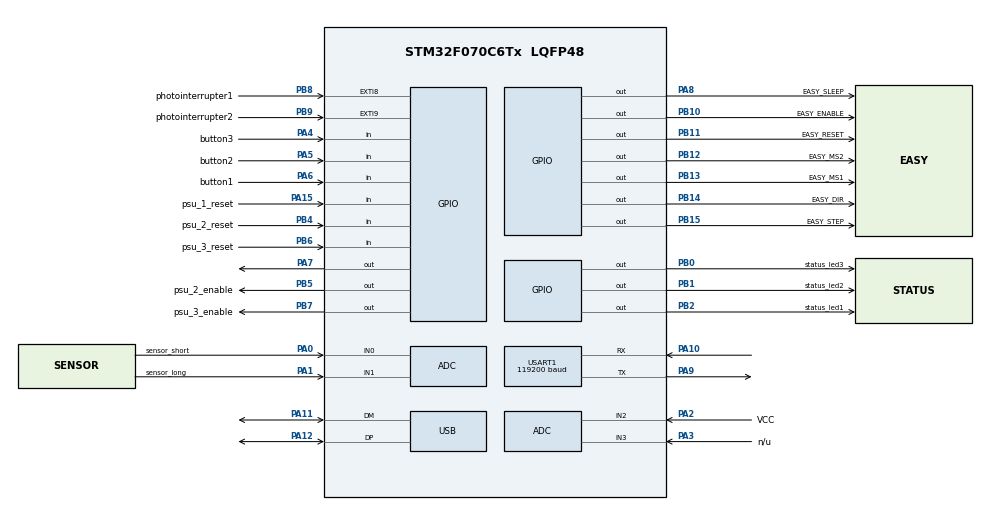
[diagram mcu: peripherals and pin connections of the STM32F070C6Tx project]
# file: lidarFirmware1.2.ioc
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Mcu.Family=STM32F0
Mcu.Name=STM32F070C6Tx
Mcu.Package=LQFP48
NVIC.TIM3_IRQn=true\:0\:0\:false\:false\:true
NVIC.TimeBase=TIM3_IRQn
NVIC.TimeBaseIP=TIM3
NVIC.USB_IRQn=true\:0\:0\:false\:false\:true
PA0.GPIO_Label=sensor_short
PA0.Mode=IN0
PA0.Signal=ADC_IN0
PA1.GPIO_Label=sensor_long
PA1.Mode=IN1
PA1.Signal=ADC_IN1
PA10.Mode=Asynchronous
PA10.Signal=USART1_RX
PA11.Mode=Device
PA11.Signal=USB_DM
PA12.Mode=Device
PA12.Signal=USB_DP
PA13.Mode=Serial_Wire
PA13.Signal=SYS_SWDIO
PA14.Mode=Serial_Wire
PA14.Signal=SYS_SWCLK
PA15.GPIO_Label=psu_1_reset
PA15.Signal=GPIO_Input
PA2.GPIO_Label=VCC
PA2.Mode=IN2
PA2.Signal=ADC_IN2
PA3.GPIO_Label=n/u
PA3.Mode=IN3
PA3.Signal=ADC_IN3
PA4.GPIO_Label=button3
PA4.Signal=GPIO_Input
PA5.GPIO_Label=button2
PA5.Signal=GPIO_Input
PA6.GPIO_Label=button1
PA6.Signal=GPIO_Input
PA7.Signal=GPIO_Output
PA8.GPIO_Label=EASY_SLEEP
PA8.Signal=GPIO_Output
PA9.Mode=Asynchronous
PA9.Signal=USART1_TX
PB0.GPIO_Label=status_led3
PB0.Signal=GPIO_Output
PB1.GPIO_Label=status_led2
PB1.Signal=GPIO_Output
PB10.GPIO_Label=EASY_ENABLE
PB10.Signal=GPIO_Output
PB11.GPIO_Label=EASY_RESET
PB11.Signal=GPIO_Output
PB12.GPIO_Label=EASY_MS2
PB12.Signal=GPIO_Output
PB13.GPIO_Label=EASY_MS1
PB13.Signal=GPIO_Output
PB14.GPIO_Label=EASY_DIR
PB14.Signal=GPIO_Output
PB15.GPIO_Label=EASY_STEP
PB15.Signal=GPIO_Output
PB2.GPIO_Label=status_led1
PB2.Signal=GPIO_Output
PB4.GPIO_Label=psu_2_reset
PB4.Signal=GPIO_Input
PB5.GPIO_Label=psu_2_enable
PB5.Signal=GPIO_Output
PB6.GPIO_Label=psu_3_reset
PB6.Signal=GPIO_Input
PB7.GPIO_Label=psu_3_enable
PB7.Signal=GPIO_Output
PB8.GPIO_Label=photointerrupter1
PB8.Signal=GPXTI8
PB9.GPIO_Label=photointerrupter2
PB9.Signal=GPXTI9
ProjectManager.HeapSize=0x200
ProjectManager.StackSize=0x400
ProjectManager.TargetToolchain=EWARM
RCC.AHBFreq_Value=48000000
RCC.APB1Freq_Value=48000000
RCC.APB1TimFreq_Value=48000000
RCC.HCLKFreq_Value=48000000
RCC.PLLMUL=RCC_PLL_MUL6
RCC.SYSCLKFreq_VALUE=48000000
RCC.SYSCLKSource=RCC_SYSCLKSOURCE_PLLCLK
USART1.BaudRate=119200
USART1.Parity=PARITY_ODD
USART1.WordLength=UART_WORDLENGTH_9B
USB_DEVICE.CLASS_NAME_FS=CDC
USB_DEVICE.USBD_HandleTypeDef=hUsbDeviceFS
USB_DEVICE.VirtualMode=Cdc
USB_DEVICE.VirtualModeFS=Cdc_FS
VP_ADC_TempSens_Input.Mode=IN-TempSens
VP_ADC_Vref_Input.Mode=IN-Vrefint
VP_SYS_VS_tim3.Mode=TIM3
VP_USB_DEVICE_VS_USB_DEVICE_CDC_FS.Mode=CDC_FS
board=lidarFirmware1.2

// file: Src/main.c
/**
******************************************************************************
* File Name          : main.c
* Description        : Main program body
******************************************************************************
*
* Copyright (c) 2016 STMicroelectronics International N.V.
* All rights reserved.
*
* Redistribution and use in source and binary forms, with or without
* modification, are permitted, provided that the following conditions are met:
*
* 1. Redistribution of source code must retain the above copyright notice,
*    this list of conditions and the following disclaimer.
* 2. Redistributions in binary form must reproduce the above copyright notice,
*    this list of conditions and the following disclaimer in the documentation
*    and/or other materials provided with the distribution.
* 3. Neither the name of STMicroelectronics nor the names of other
*    contributors to this software may be used to endorse or promote products
*    derived from this software without specific written permission.
* 4. This software, including modifications and/or derivative works of this
*    software, must execute solely and exclusively on microcontroller or
*    microprocessor devices manufactured by or for STMicroelectronics.
* 5. Redistribution and use of this software other than as permitted under
*    this license is void and will automatically terminate your rights under
*    this license.
*
* THIS SOFTWARE IS PROVIDED BY STMICROELECTRONICS AND CONTRIBUTORS "AS IS"
* AND ANY EXPRESS, IMPLIED OR STATUTORY WARRANTIES, INCLUDING, BUT NOT
* LIMITED TO, THE IMPLIED WARRANTIES OF MERCHANTABILITY, FITNESS FOR A
* PARTICULAR PURPOSE AND NON-INFRINGEMENT OF THIRD PARTY INTELLECTUAL PROPERTY
* RIGHTS ARE DISCLAIMED TO THE FULLEST EXTENT PERMITTED BY LAW. IN NO EVENT
* SHALL STMICROELECTRONICS OR CONTRIBUTORS BE LIABLE FOR ANY DIRECT, INDIRECT,
* INCIDENTAL, SPECIAL, EXEMPLARY, OR CONSEQUENTIAL DAMAGES (INCLUDING, BUT NOT
* LIMITED TO, PROCUREMENT OF SUBSTITUTE GOODS OR SERVICES; LOSS OF USE, DATA,
* OR PROFITS; OR BUSINESS INTERRUPTION) HOWEVER CAUSED AND ON ANY THEORY OF
* LIABILITY, WHETHER IN CONTRACT, STRICT LIABILITY, OR TORT (INCLUDING
* NEGLIGENCE OR OTHERWISE) ARISING IN ANY WAY OUT OF THE USE OF THIS SOFTWARE,
* EVEN IF ADVISED OF THE POSSIBILITY OF SUCH DAMAGE.
*
******************************************************************************
*/
/*#include "main.h"
#include "stm32f0xx_hal.h"
#include "adc.h"
#include "usart.h"
#include "usb_device.h"
#include "gpio.h"*/

/* USER CODE BEGIN Includes */
#include "lidarDefaultHeader.h"
#include "FreeRTOS.h"
#include "task.h"
#include "semphr.h"
#include "queue.h"
/* USER CODE END Includes */

/* USER CODE BEGIN PV */
/* Private variables ---------------------------------------------------------*/

/* USER CODE END PV */

void SystemClock_Config(void);
void Error_Handler(void);

/* USER CODE BEGIN PFP */
/* Private function prototypes -----------------------------------------------*/
extern void example(void* pvParameters);
extern void water(void* pvParameters);
extern void LED_Control(void* argument);
extern void Button_Control(void* argument);
extern void usbDr(void* pvParameters);
extern void serialDr(void* pvParameters);
extern void comInter(void* pvParameters);
extern void sensDriv(void* pvParameters);
extern void photoInt(void* pvParameters);
extern void hBridge(void* pvParameters);
//extern void easyStep(void* pvParameters);
extern void posCtrl(void* pvParameters);

static TaskHandle_t xUsbDrHandle = NULL;
static TaskHandle_t xSerialDrHandle = NULL;
static TaskHandle_t xComInterHandle = NULL;
static TaskHandle_t xSensDrivHandle = NULL;
static TaskHandle_t xPhotoIntHandle = NULL;
static TaskHandle_t xHBridgeHandle = NULL;
static TaskHandle_t xEasyStepHandle = NULL;
static TaskHandle_t xSysCtrlHandle = NULL;
static TaskHandle_t xPosCtrlHandle = NULL;

// Semaphore Declarations:
volatile char posCtrl_initFlag = 0; 	// Semaphore alternative for poscontroller
volatile char posCtrl_startFlag = 0;	// Semaphore alternative for poscontroller
// SemaphoreHandle_t initPosCTRL; // init postion controller
// SemaphoreHandle_t startPosCTRL; // start scanning, (postion controller)

/* USER CODE END PFP */

/* USER CODE BEGIN 0 */

uint8_t LED_Register_Bits = 00001010; // fout pik
uint8_t Button_Status = 00000000;
QueueHandle_t serialInQueue, serialOutQueue;
/* USER CODE END 0 */

int main(void)
{

	/* MCU Configuration----------------------------------------------------------*/

	/* Reset of all peripherals, Initializes the Flash interface and the Systick. */
	HAL_Init();

	/* Configure the system clock */
	SystemClock_Config();

	/* Initialize all configured peripherals */
	MX_GPIO_Init();

	MX_ADC_Init();
	MX_USART1_UART_Init();
	MX_USB_DEVICE_Init();

	EXTI->RTSR = EXTI_RTSR_TR6;

    NVIC_SetPriority(EXTI4_15_IRQn, 0);
  	NVIC_EnableIRQ(EXTI4_15_IRQn);
	/* USER CODE BEGIN 2 */

	// this queue should be filled in a interrupt using xQueueSendToBackFromISR() function
	/* Create a queue capable of containing 100 char values. */
	serialInQueue = xQueueCreate( 100, sizeof( char ) );
	if (serialInQueue == 0){
        // error
    }

	// this queue should be read in a interrupt using xQueueReceiveFromISR() function
	/* Create a queue capable of containing 100 char values. */
	serialOutQueue = xQueueCreate( 100, sizeof( char ) );
	if (serialOutQueue == 0){
        // error
    }

	/* USER CODE END 2 */

	/* Infinite loop */
	/* USER CODE BEGIN WHILE */

	while (1)
	{
		// initPosCTRL = xSemaphoreCreateBinary();
		// if(initPosCTRL == NULL){
		// 	// error handler
		// }
		// startPosCTRL = xSemaphoreCreateBinary();
		// if(startPosCTRL == NULL){
		// 	// error handler
		// }

		// traceanaylzer

		#if SYSCTRL == 1
		if (xTaskCreate(
						LED_Control,
						"LED_CONT",
						configMINIMAL_STACK_SIZE + 100,
						(void*) NULL,
						taskIDLE_PRIORITY + 1,
						(xTaskHandle*) NULL)
			!= pdPASS ){
				// error handler
			}

		if (xTaskCreate(
						Button_Control,
						"BUT_CONT",
						configMINIMAL_STACK_SIZE + 100,
						(void*) NULL,
						taskIDLE_PRIORITY + 1,
						(xTaskHandle*) NULL)
			!= pdPASS ){
				// error handler
			}
		#endif

		#if USBDR == 1
		xTaskCreate(
		usbDr,
		"usbDr",
		configMINIMAL_STACK_SIZE + 0,
		(void*) NULL,
		taskIDLE_PRIORITY + 1,
		(xTaskHandle*) NULL);
		#endif

		#if SERIALDR == 1
		xTaskCreate(
		serialDr,
		"serialDr",
		configMINIMAL_STACK_SIZE + 0,
		(void*) NULL,
		taskIDLE_PRIORITY + 1,
		(xTaskHandle*) NULL);
		#endif

		#if COMINTER == 1
		xTaskCreate(
		comInter,
		"comInter",
		configMINIMAL_STACK_SIZE + 0,
		(void*) NULL,
		taskIDLE_PRIORITY + 1,
		(xTaskHandle*) NULL);
		#endif

		#if SENSDRIV == 1
		xTaskCreate(
		sensDriv,
		"sensDriv",
		configMINIMAL_STACK_SIZE + 0,
		(void*) NULL,
		taskIDLE_PRIORITY + 1,
		(xTaskHandle*) NULL);
		#endif

		#if PHOTOINT == 1
		xTaskCreate(
		photoInt,
		"photoInt",
		configMINIMAL_STACK_SIZE + 0,
		(void*) NULL,
		taskIDLE_PRIORITY + 1,
		(xTaskHandle*) NULL);
		#endif

		#if HBRIDGE == 1
		xTaskCreate(
		hBridge,
		"hBridge",
		configMINIMAL_STACK_SIZE + 0,
		(void*) NULL,
		taskIDLE_PRIORITY + 1,
		(xTaskHandle*) NULL);
		#endif

		#if EASYSTEP == 1
		/* we dont use a task anymore, we use 'normal' c functions */
		// xTaskCreate(
		// easyStep,
		// "easyStep",
		// configMINIMAL_STACK_SIZE + 0,
		// (void*) NULL,
		// taskIDLE_PRIORITY + 1,
		// (xTaskHandle*) NULL);
		#endif

		#if POSCTRL == 1
		if(xTaskCreate(
					   posCtrl,
					   "posCtrl",
					   configMINIMAL_STACK_SIZE + 0,
					   (void*) NULL,
					   taskIDLE_PRIORITY + 1,
					   &xPosCtrlHandle)
		   != pdPASS ){
			   // error handler
		   }
		#endif

		/* Start scheduler */
		HAL_GPIO_WritePin (GPIOB, status_led3_Pin|status_led2_Pin|status_led1_Pin, GPIO_PIN_SET);
		vTaskStartScheduler();	// should not get past this function
		for(;;);
		/* USER CODE END WHILE */

	}

}

		/** System Clock Configuration
		*/
		void SystemClock_Config(void)
		{

			RCC_OscInitTypeDef RCC_OscInitStruct;
			RCC_ClkInitTypeDef RCC_ClkInitStruct;
			RCC_PeriphCLKInitTypeDef PeriphClkInit;

			/**Initializes the CPU, AHB and APB busses clocks
			*/
			RCC_OscInitStruct.OscillatorType = RCC_OSCILLATORTYPE_HSI|RCC_OSCILLATORTYPE_HSI14;
			RCC_OscInitStruct.HSIState = RCC_HSI_ON;
			RCC_OscInitStruct.HSI14State = RCC_HSI14_ON;
			RCC_OscInitStruct.HSICalibrationValue = 16;
			RCC_OscInitStruct.HSI14CalibrationValue = 16;
			RCC_OscInitStruct.PLL.PLLState = RCC_PLL_ON;
			RCC_OscInitStruct.PLL.PLLSource = RCC_PLLSOURCE_HSI;
			RCC_OscInitStruct.PLL.PLLMUL = RCC_PLL_MUL6;
			RCC_OscInitStruct.PLL.PREDIV = RCC_PREDIV_DIV1;
			if (HAL_RCC_OscConfig(&RCC_OscInitStruct) != HAL_OK)
			{
				Error_Handler();
			}

			/**Initializes the CPU, AHB and APB busses clocks
			*/
			RCC_ClkInitStruct.ClockType = RCC_CLOCKTYPE_HCLK|RCC_CLOCKTYPE_SYSCLK
				|RCC_CLOCKTYPE_PCLK1;
			RCC_ClkInitStruct.SYSCLKSource = RCC_SYSCLKSOURCE_PLLCLK;
			RCC_ClkInitStruct.AHBCLKDivider = RCC_SYSCLK_DIV1;
			RCC_ClkInitStruct.APB1CLKDivider = RCC_HCLK_DIV1;

			if (HAL_RCC_ClockConfig(&RCC_ClkInitStruct, FLASH_LATENCY_1) != HAL_OK)
			{
				Error_Handler();
			}

			PeriphClkInit.PeriphClockSelection = RCC_PERIPHCLK_USB|RCC_PERIPHCLK_USART1;
			PeriphClkInit.Usart1ClockSelection = RCC_USART1CLKSOURCE_PCLK1;
			PeriphClkInit.UsbClockSelection = RCC_USBCLKSOURCE_PLL;

			if (HAL_RCCEx_PeriphCLKConfig(&PeriphClkInit) != HAL_OK)
			{
				Error_Handler();
			}

			/**Configure the Systick interrupt time
			*/
			HAL_SYSTICK_Config(HAL_RCC_GetHCLKFreq()/1000);

			/**Configure the Systick
			*/
			HAL_SYSTICK_CLKSourceConfig(SYSTICK_CLKSOURCE_HCLK);

			/* SysTick_IRQn interrupt configuration */
			HAL_NVIC_SetPriority(SysTick_IRQn, 0, 0);
		}

		/**
		* @brief  Period elapsed callback in non blocking mode
		* @note   This function is called  when TIM3 interrupt took place, inside
		* HAL_TIM_IRQHandler(). It makes a direct call to HAL_IncTick() to increment
		* a global variable "uwTick" used as application time base.
		* @param  htim : TIM handle
		* @retval None
		*/
		void HAL_TIM_PeriodElapsedCallback(TIM_HandleTypeDef *htim)
		{
			if (htim->Instance == TIM3) {
				HAL_IncTick();
			}
		}

		/**
		* @brief  This function is executed in case of error occurrence.
		* @param  None
		* @retval None
		*/
		void Error_Handler(void)
		{
			while(1)
			{
			}
		}

		/**
		* @}
		*/

		/**
		* @}
		*/

		/************************ (C) COPYRIGHT STMicroelectronics *****END OF FILE****/

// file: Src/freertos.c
/**
  ******************************************************************************
  * File Name          : freertos.c
  * Description        : Code for freertos applications
  ******************************************************************************
  *
  * Copyright (c) 2016 STMicroelectronics International N.V.
  * All rights reserved.
  *
  * Redistribution and use in source and binary forms, with or without
  * modification, are permitted, provided that the following conditions are met:
  *
  * 1. Redistribution of source code must retain the above copyright notice,
  *    this list of conditions and the following disclaimer.
  * 2. Redistributions in binary form must reproduce the above copyright notice,
  *    this list of conditions and the following disclaimer in the documentation
  *    and/or other materials provided with the distribution.
  * 3. Neither the name of STMicroelectronics nor the names of other
  *    contributors to this software may be used to endorse or promote products
  *    derived from this software without specific written permission.
  * 4. This software, including modifications and/or derivative works of this
  *    software, must execute solely and exclusively on microcontroller or
  *    microprocessor devices manufactured by or for STMicroelectronics.
  * 5. Redistribution and use of this software other than as permitted under
  *    this license is void and will automatically terminate your rights under
  *    this license.
  *
  * THIS SOFTWARE IS PROVIDED BY STMICROELECTRONICS AND CONTRIBUTORS "AS IS"
  * AND ANY EXPRESS, IMPLIED OR STATUTORY WARRANTIES, INCLUDING, BUT NOT
  * LIMITED TO, THE IMPLIED WARRANTIES OF MERCHANTABILITY, FITNESS FOR A
  * PARTICULAR PURPOSE AND NON-INFRINGEMENT OF THIRD PARTY INTELLECTUAL PROPERTY
  * RIGHTS ARE DISCLAIMED TO THE FULLEST EXTENT PERMITTED BY LAW. IN NO EVENT
  * SHALL STMICROELECTRONICS OR CONTRIBUTORS BE LIABLE FOR ANY DIRECT, INDIRECT,
  * INCIDENTAL, SPECIAL, EXEMPLARY, OR CONSEQUENTIAL DAMAGES (INCLUDING, BUT NOT
  * LIMITED TO, PROCUREMENT OF SUBSTITUTE GOODS OR SERVICES; LOSS OF USE, DATA,
  * OR PROFITS; OR BUSINESS INTERRUPTION) HOWEVER CAUSED AND ON ANY THEORY OF
  * LIABILITY, WHETHER IN CONTRACT, STRICT LIABILITY, OR TORT (INCLUDING
  * NEGLIGENCE OR OTHERWISE) ARISING IN ANY WAY OUT OF THE USE OF THIS SOFTWARE,
  * EVEN IF ADVISED OF THE POSSIBILITY OF SUCH DAMAGE.
  *
  ******************************************************************************
  */

#include "FreeRTOS.h"
#include "task.h"
#include "cmsis_os.h"

osThreadId defaultTaskHandle;

void StartDefaultTask(void const * argument);

void MX_FREERTOS_Init(void); /* (MISRA C 2004 rule 8.1) */

/* Hook prototypes */

/* Init FreeRTOS */

void MX_FREERTOS_Init(void) {

  /* USER CODE BEGIN RTOS_MUTEX*/
  /* add mutexes, ... */
  /* USER CODE END RTOS_MUTEX */

  /* Create the thread(s) */
  /* definition and creation of defaultTask */
  osThreadDef(defaultTask, StartDefaultTask, osPriorityNormal, 0, 128);
  defaultTaskHandle = osThreadCreate(osThread(defaultTask), NULL);

}

/* StartDefaultTask function */
void StartDefaultTask(void const * argument)
{

  for(;;)
  {
    osDelay(1);
  }
}

/************************ (C) COPYRIGHT STMicroelectronics *****END OF FILE****/
